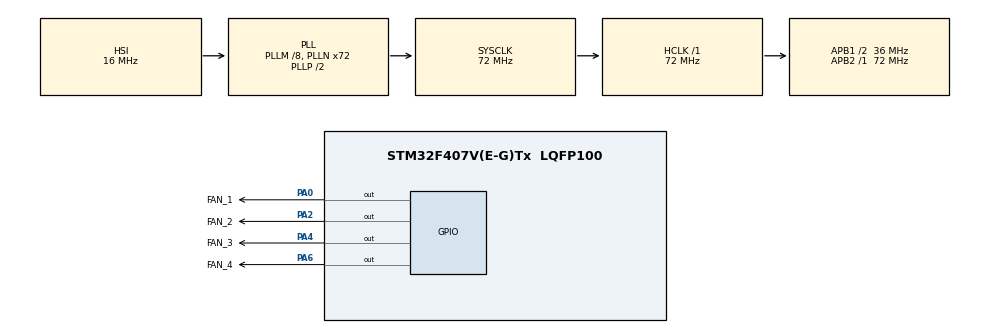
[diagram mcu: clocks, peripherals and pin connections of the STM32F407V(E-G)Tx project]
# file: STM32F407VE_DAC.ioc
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Mcu.Family=STM32F4
Mcu.Name=STM32F407V(E-G)Tx
Mcu.Package=LQFP100
NVIC.PriorityGroup=NVIC_PRIORITYGROUP_4
PA0-WKUP.GPIO_Label=FAN_1
PA0-WKUP.GPIO_Speed=GPIO_SPEED_FREQ_VERY_HIGH
PA0-WKUP.Signal=GPIO_Output
PA13.Mode=Serial_Wire
PA13.Signal=SYS_JTMS-SWDIO
PA14.Mode=Serial_Wire
PA14.Signal=SYS_JTCK-SWCLK
PA2.GPIO_Label=FAN_2
PA2.GPIO_Speed=GPIO_SPEED_FREQ_VERY_HIGH
PA2.Signal=GPIO_Output
PA4.GPIO_Label=FAN_3
PA4.GPIO_Speed=GPIO_SPEED_FREQ_VERY_HIGH
PA4.Signal=GPIO_Output
PA6.GPIO_Label=FAN_4
PA6.GPIO_Speed=GPIO_SPEED_FREQ_VERY_HIGH
PA6.Signal=GPIO_Output
PH0-OSC_IN.Mode=HSE-External-Oscillator
PH0-OSC_IN.Signal=RCC_OSC_IN
PH1-OSC_OUT.Mode=HSE-External-Oscillator
PH1-OSC_OUT.Signal=RCC_OSC_OUT
ProjectManager.HeapSize=0x200
ProjectManager.StackSize=0x400
ProjectManager.TargetToolchain=STM32CubeIDE
RCC.48MHZClocksFreq_Value=36000000
RCC.AHBFreq_Value=72000000
RCC.APB1CLKDivider=RCC_HCLK_DIV2
RCC.APB1Freq_Value=36000000
RCC.APB1TimFreq_Value=72000000
RCC.APB2Freq_Value=72000000
RCC.APB2TimFreq_Value=72000000
RCC.CortexFreq_Value=72000000
RCC.HCLKFreq_Value=72000000
RCC.HSE_VALUE=25000000
RCC.HSI_VALUE=16000000
RCC.LSE_VALUE=32768
RCC.PLLM=8
RCC.PLLN=72
RCC.SYSCLKFreq_VALUE=72000000
RCC.SYSCLKSource=RCC_SYSCLKSOURCE_PLLCLK
RCC.VCOOutputFreq_Value=144000000
board=custom

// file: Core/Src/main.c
/* USER CODE BEGIN Header */
/**
  ******************************************************************************
  * @file           : main.c
  * @brief          : Main program body
  ******************************************************************************
  * @attention
  *
  * <h2><center>&copy; Copyright (c) 2020 STMicroelectronics.
  * All rights reserved.</center></h2>
  *
  * This software component is licensed by ST under BSD 3-Clause license,
  * the "License"; You may not use this file except in compliance with the
  * License. You may obtain a copy of the License at:
  *                        opensource.org/licenses/BSD-3-Clause
  *
  ******************************************************************************
  */
/* USER CODE END Header */

#include "main.h"

void SystemClock_Config(void);
static void MX_GPIO_Init(void);

int main(void)
{

  /* MCU Configuration--------------------------------------------------------*/

  /* Reset of all peripherals, Initializes the Flash interface and the Systick. */
  HAL_Init();

  /* Configure the system clock */
  SystemClock_Config();

  /* Initialize all configured peripherals */
  MX_GPIO_Init();
  /* USER CODE BEGIN 2 */
	//HAL_DAC_Start(&hdac, DAC_CHANNEL_1);
	//HAL_DAC_Start(&hdac, DAC_CHANNEL_2);

	//HAL_TIM_Base_Start_IT(&htim6);
  int timeA = 200;
	int timeD = 0;
  /* USER CODE END 2 */

  /* Infinite loop */
  /* USER CODE BEGIN WHILE */
  while (1)
  {

	 // PAINT_Draw(&catImage);

		HAL_GPIO_WritePin(FAN_1_GPIO_Port, FAN_1_Pin, GPIO_PIN_SET);
		HAL_Delay(timeA);
		HAL_GPIO_WritePin(FAN_1_GPIO_Port, FAN_1_Pin, GPIO_PIN_RESET);
		//HAL_Delay(timeD);

		HAL_GPIO_WritePin(FAN_2_GPIO_Port, FAN_2_Pin, GPIO_PIN_SET);
		HAL_Delay(timeA);
		HAL_GPIO_WritePin(FAN_2_GPIO_Port, FAN_2_Pin, GPIO_PIN_RESET);
		//HAL_Delay(timeD);

		HAL_GPIO_WritePin(FAN_3_GPIO_Port, FAN_3_Pin, GPIO_PIN_SET);
		HAL_Delay(timeA);
		HAL_GPIO_WritePin(FAN_3_GPIO_Port, FAN_3_Pin, GPIO_PIN_RESET);
		//HAL_Delay(timeD);

		HAL_GPIO_WritePin(FAN_4_GPIO_Port, FAN_4_Pin, GPIO_PIN_SET);
		HAL_Delay(timeA);
		HAL_GPIO_WritePin(FAN_4_GPIO_Port, FAN_4_Pin, GPIO_PIN_RESET);
		//HAL_Delay(timeD);
		if(timeA>50)timeA--;
    /* USER CODE END WHILE */

  }
}

void SystemClock_Config(void)
{
  RCC_OscInitTypeDef RCC_OscInitStruct = {0};
  RCC_ClkInitTypeDef RCC_ClkInitStruct = {0};

  /** Configure the main internal regulator output voltage
  */
  __HAL_RCC_PWR_CLK_ENABLE();
  __HAL_PWR_VOLTAGESCALING_CONFIG(PWR_REGULATOR_VOLTAGE_SCALE1);
  /** Initializes the CPU, AHB and APB busses clocks
  */
  RCC_OscInitStruct.OscillatorType = RCC_OSCILLATORTYPE_HSI;
  RCC_OscInitStruct.HSIState = RCC_HSI_ON;
  RCC_OscInitStruct.HSICalibrationValue = RCC_HSICALIBRATION_DEFAULT;
  RCC_OscInitStruct.PLL.PLLState = RCC_PLL_ON;
  RCC_OscInitStruct.PLL.PLLSource = RCC_PLLSOURCE_HSI;
  RCC_OscInitStruct.PLL.PLLM = 8;
  RCC_OscInitStruct.PLL.PLLN = 72;
  RCC_OscInitStruct.PLL.PLLP = RCC_PLLP_DIV2;
  RCC_OscInitStruct.PLL.PLLQ = 4;
  if (HAL_RCC_OscConfig(&RCC_OscInitStruct) != HAL_OK)
  {
    Error_Handler();
  }
  /** Initializes the CPU, AHB and APB busses clocks
  */
  RCC_ClkInitStruct.ClockType = RCC_CLOCKTYPE_HCLK|RCC_CLOCKTYPE_SYSCLK
                              |RCC_CLOCKTYPE_PCLK1|RCC_CLOCKTYPE_PCLK2;
  RCC_ClkInitStruct.SYSCLKSource = RCC_SYSCLKSOURCE_PLLCLK;
  RCC_ClkInitStruct.AHBCLKDivider = RCC_SYSCLK_DIV1;
  RCC_ClkInitStruct.APB1CLKDivider = RCC_HCLK_DIV2;
  RCC_ClkInitStruct.APB2CLKDivider = RCC_HCLK_DIV1;

  if (HAL_RCC_ClockConfig(&RCC_ClkInitStruct, FLASH_LATENCY_2) != HAL_OK)
  {
    Error_Handler();
  }
}

static void MX_GPIO_Init(void)
{
  GPIO_InitTypeDef GPIO_InitStruct = {0};

  /* GPIO Ports Clock Enable */
  __HAL_RCC_GPIOH_CLK_ENABLE();
  __HAL_RCC_GPIOA_CLK_ENABLE();

  /*Configure GPIO pin Output Level */
  HAL_GPIO_WritePin(GPIOA, FAN_1_Pin|FAN_2_Pin|FAN_3_Pin|FAN_4_Pin, GPIO_PIN_RESET);

  /*Configure GPIO pins : FAN_1_Pin FAN_2_Pin FAN_3_Pin FAN_4_Pin */
  GPIO_InitStruct.Pin = FAN_1_Pin|FAN_2_Pin|FAN_3_Pin|FAN_4_Pin;
  GPIO_InitStruct.Mode = GPIO_MODE_OUTPUT_PP;
  GPIO_InitStruct.Pull = GPIO_NOPULL;
  GPIO_InitStruct.Speed = GPIO_SPEED_FREQ_VERY_HIGH;
  HAL_GPIO_Init(GPIOA, &GPIO_InitStruct);

}

void Error_Handler(void)
{
}

/************************ (C) COPYRIGHT STMicroelectronics *****END OF FILE****/
